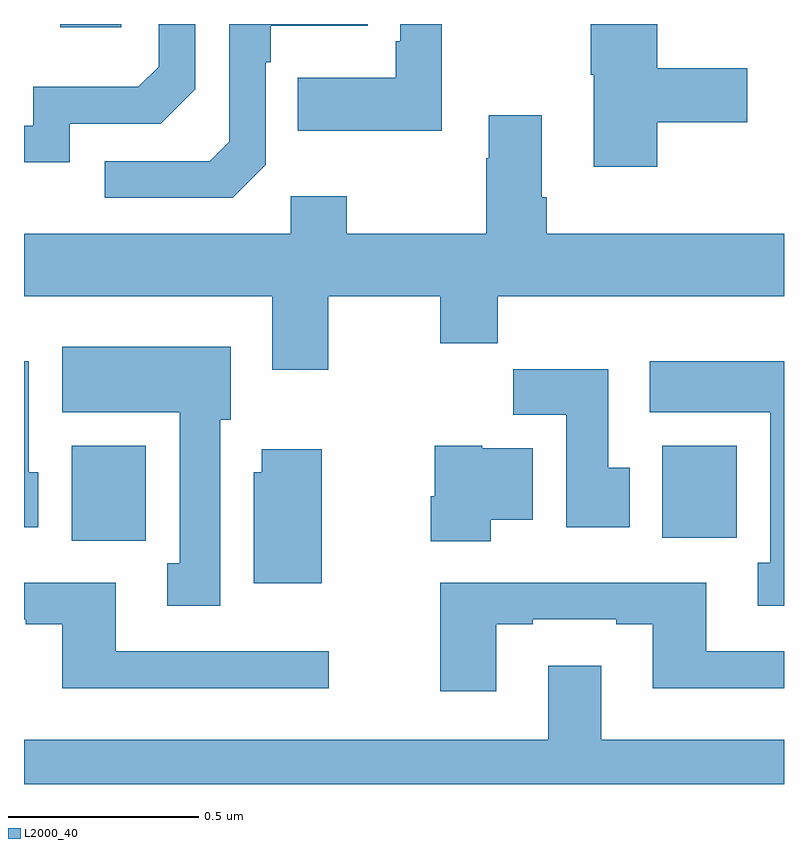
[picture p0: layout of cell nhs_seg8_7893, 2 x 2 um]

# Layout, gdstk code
import gdstk
lib = gdstk.Library(unit=1e-6, precision=1e-09)
def R(c, l, rs):  # rectangles x0, y0, x1, y1
    for r in rs: c.add(gdstk.rectangle(r[:2], r[2:], *l))
def P(c, l, *ps):  # polygons
    for p in ps: c.add(gdstk.Polygon(p, *l))
L2000_40 = (2000, 40)

nhs_seg8_7893 = lib.new_cell('nhs_seg8_7893')
R(nhs_seg8_7893, L2000_40, [(216.125,1098.54,216.321,1098.79), (217.679,1098.548,217.876,1098.79), (216.095,1099.892,216.256,1099.9)])
P(nhs_seg8_7893, L2000_40, [(216.636,1099.53),(216.636,1099.799),(216.649,1099.799),(216.649,1099.895),(216.905,1099.895),(216.905,1099.9),(216.54,1099.9),(216.54,1099.59),(216.489,1099.539),(216.213,1099.539),(216.213,1099.443),(216.549,1099.443)],
  [(216.12,1099.638),(216.36,1099.638),(216.45,1099.728),(216.45,1099.9),(216.354,1099.9),(216.354,1099.788),(216.301,1099.735),(216.024,1099.735),(216.024,1099.632),(216,1099.632),(216,1099.536),(216.12,1099.536)],
  [(217.667,1099.642),(217.903,1099.642),(217.903,1099.784),(217.667,1099.784),(217.667,1099.9),(217.492,1099.9),(217.492,1099.767),(217.499,1099.767),(217.499,1099.524),(217.667,1099.524)],
  [(217.099,1099.9),(216.99,1099.9),(216.99,1099.855),(216.978,1099.855),(216.978,1099.759),(216.721,1099.759),(216.721,1099.619),(217.099,1099.619)],
  [(217.096,1099.06),(217.247,1099.06),(217.247,1099.184),(218,1099.184),(218,1099.348),(217.376,1099.348),(217.376,1099.444),(217.363,1099.444),(217.363,1099.66),(217.223,1099.66),(217.223,1099.547),(217.216,1099.547),(217.216,1099.348),(216.849,1099.348),(216.849,1099.447),(216.702,1099.447),(216.702,1099.348),(216,1099.348),(216,1099.184),(216.653,1099.184),(216.653,1098.99),(216.801,1098.99),(216.801,1099.184),(217.096,1099.184)],
  [(216.517,1098.858),(216.544,1098.858),(216.544,1099.051),(216.101,1099.051),(216.101,1098.878),(216.41,1098.878),(216.41,1098.481),(216.377,1098.481),(216.377,1098.369),(216.517,1098.369)],
  [(218,1099.012),(217.647,1099.012),(217.647,1098.878),(217.964,1098.878),(217.964,1098.482),(217.931,1098.482),(217.931,1098.369),(218,1098.369)],
  [(216.037,1098.72),(216.013,1098.72),(216.013,1099.012),(216,1099.012),(216,1098.576),(216.037,1098.576)],
  [(217.594,1098.732),(217.537,1098.732),(217.537,1098.991),(217.288,1098.991),(217.288,1098.872),(217.427,1098.872),(217.427,1098.576),(217.594,1098.576)],
  [(217.228,1098.596),(217.339,1098.596),(217.339,1098.784),(217.206,1098.784),(217.206,1098.79),(217.081,1098.79),(217.081,1098.657),(217.07,1098.657),(217.07,1098.539),(217.228,1098.539)],
  [(216.784,1098.781),(216.626,1098.781),(216.626,1098.72),(216.605,1098.72),(216.605,1098.428),(216.784,1098.428)],
  [(216.802,1098.249),(216.241,1098.249),(216.241,1098.43),(216,1098.43),(216,1098.333),(216.005,1098.333),(216.005,1098.321),(216.101,1098.321),(216.101,1098.152),(216.802,1098.152)],
  [(217.243,1098.321),(217.339,1098.321),(217.339,1098.333),(217.559,1098.333),(217.559,1098.321),(217.655,1098.321),(217.655,1098.152),(218,1098.152),(218,1098.249),(217.795,1098.249),(217.795,1098.43),(217.096,1098.43),(217.096,1098.144),(217.243,1098.144)],
  [(218,1098.016),(217.519,1098.016),(217.519,1098.211),(217.379,1098.211),(217.379,1098.016),(216,1098.016),(216,1097.9),(218,1097.9)])

lib.write_gds('nhs_seg8_7893.gds')
